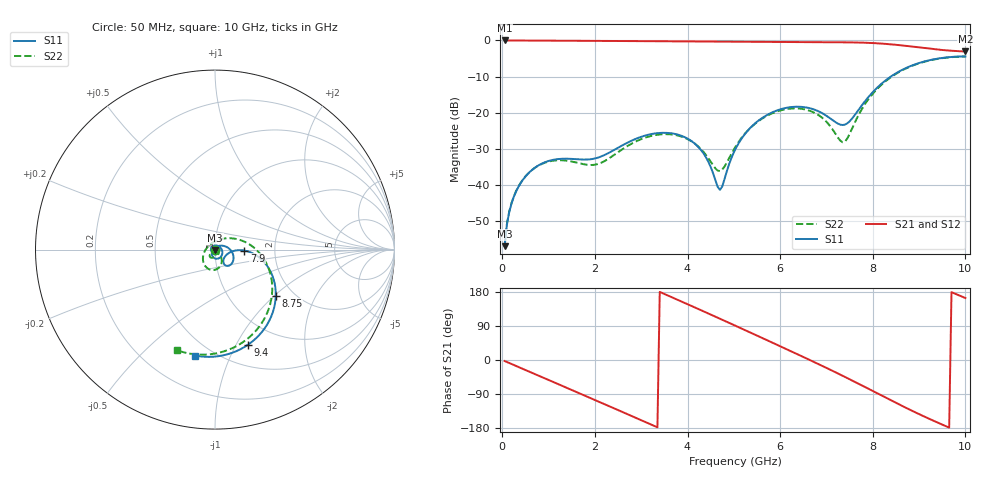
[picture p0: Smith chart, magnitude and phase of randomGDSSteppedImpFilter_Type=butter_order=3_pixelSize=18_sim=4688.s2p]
! freq	dB(S11)	phase(S11)	dB(S12)	phase(S12)
!  dB(S21)	phase(S21)	dB(S22)	phase(S22)
!S-par simulation data
#  GHz  S  DB  R 50
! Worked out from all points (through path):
!   200 points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, 50 MHz to 10 GHz, reference 50 ohm
!   highest |S21| = -0.01 dB at 50 MHz (marker M1); lowest = -3.0 dB at 10 GHz (marker M2)
!   group delay of S21, straight-line fit = 156 ps
!   lowest |S11| = -56.9 dB at 50 MHz (marker M3), VSWR 1.00, Z = 50 - j0.142 ohm
!   |S11| at or under -10 dB: start of sweep to 8.388 GHz
!   |S22| runs from -56.8 to -4.5 dB; largest |S21 - S12| = 0
!   S11 on the Smith chart (normalised r, x): 50 MHz: 1.00, -0.00; 7.9 GHz: 1.39, -0.02; 8.75 GHz: 1.63, -1.02; 9.4 GHz: 0.73, -1.12; 10 GHz: 0.40, -0.75
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0.05  -56.86 -80.1  -0.01 -2.7  -0.01 -2.7  -56.79 -78.5
0.1  -50.83 -89.6  -0.01 -5.3  -0.01 -5.3  -50.74 -86.3
0.2  -45.00 -99.8  -0.02 -10.6  -0.02 -10.6  -44.91 -93.5
0.55  -36.90 -128.4  -0.04 -29.0  -0.04 -29.0  -36.87 -110.3
1.2  -32.79 178.4  -0.08 -63.3  -0.08 -63.3  -33.11 -130.9
1.75  -32.93 117.7  -0.10 -92.3  -0.10 -92.3  -34.18 -128.9
2.1  -32.24 68.3  -0.13 -110.9  -0.13 -110.9  -34.00 -110.8
2.65  -28.60 1.6  -0.17 -140.1  -0.17 -140.1  -29.60 -96.4
3.4  -25.56 -60.2  -0.23 179.7  -0.23 179.7  -25.98 -113.8
4.2  -29.02 -117.9  -0.29 136.4  -0.29 136.4  -28.95 -136.8
4.45  -33.55 -143.3  -0.30 122.7  -0.30 122.7  -32.57 -132.6
4.7  -41.31 135.6  -0.31 109.0  -0.31 109.0  -36.11 -92.8
5.05  -29.63 40.6  -0.34 89.6  -0.34 89.6  -29.08 -49.9
5.75  -20.37 -8.3  -0.41 50.4  -0.41 50.4  -20.60 -70.0
6.25  -18.39 -35.0  -0.47 22.2  -0.47 22.2  -18.81 -96.2
6.7  -18.94 -53.5  -0.49 -3.4  -0.49 -3.4  -19.75 -125.0
7.35  -23.37 -35.1  -0.51 -41.7  -0.51 -41.7  -28.14 132.2
7.9  -15.73 -1.9  -0.67 -75.5  -0.67 -75.5  -16.35 20.2
8.35  -10.34 -17.3  -1.03 -103.7  -1.03 -103.7  -10.54 -15.2
8.75  -7.44 -37.2  -1.55 -128.2  -1.55 -128.2  -7.55 -41.6
9.4  -5.03 -70.7  -2.51 -165.1  -2.51 -165.1  -5.09 -79.6
10  -4.43 -100.7  -3.05 163.5  -3.05 163.5  -4.45 -110.9
